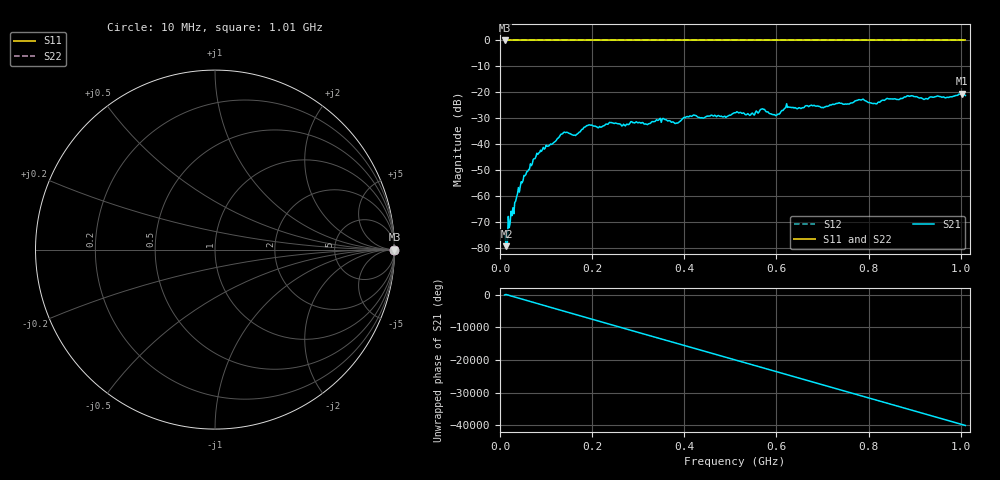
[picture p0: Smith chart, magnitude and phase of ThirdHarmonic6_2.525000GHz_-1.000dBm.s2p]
! 8/17/2025 5:00:01 AM
! C:\ANRITSUVNA\TEMP\TEMP.S2P
! CHANNEL.1
! TR.MEASUREMENT
! RAW.DATA
! RF.CORRECTION.OFF
! AVERAGING.OFF
! IF.BANDWIDTH: 5KHZ
! SWEEPTYPE:  FREQ.SWEEP(Linear)
! Reference Plane Port Info
! PORT:  PORT1  PORT2
! DISTANCE:  0  m  0  m
! TIME:  0  s  0  s
! PHASE.OFFSET:  0  deg.  0  deg.
! LOSS:  0  dB  0  dB
! REF.LOSS:  0  dB  0  dB
! REF.FREQ:  0  Hz  0  Hz
! Power Info
! POWER:  -20  dBm  -20  dBm
! EFF.POWER:  -20  dBm  -20  dBm
! SOURCE.ATTEN:  0  dB  0  dB
! TEST.ATTEN:  0  dB  0  dB
# GHZ S RI R 50.0
! FREQ.GHZ  S11RE  S11IM  S21RE  S21IM  S12RE  S12IM  S22RE  S22IM
!; PortSelection: Port_12
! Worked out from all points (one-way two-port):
!   501 points, 10 MHz to 1.01 GHz, reference 50 ohm
!   highest |S21| = -20.47 dB at 1.002 GHz (marker M1); lowest = -79.2 dB at 14 MHz (marker M2)
!   lowest |S11| = 0.0 dB at 10 MHz (marker M3)
!   |S11| at or under -10 dB: nowhere
!   |S22| runs from 0.0 to 0.0 dB; largest |S21 - S12| = 1.1
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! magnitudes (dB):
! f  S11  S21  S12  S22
! 10 MHz  0.0  -73.7  0.0  0.0
! 14 MHz  0.0  -79.2  0.0  0.0
! 42 MHz  0.0  -58.4  0.0  0.0
! 76 MHz  0.0  -45.5  0.0  0.0
! 136 MHz  0.0  -35.9  0.0  0.0
! 162 MHz  0.0  -36.4  0.0  0.0
! 178 MHz  0.0  -34.2  0.0  0.0
! 194 MHz  0.0  -32.5  0.0  0.0
! 344 MHz  0.0  -30.7  0.0  0.0
! 382 MHz  0.0  -31.9  0.0  0.0
! 416 MHz  0.0  -29.2  0.0  0.0
! 510 MHz  0.0  -27.8  0.0  0.0
! 548 MHz  0.0  -28.0  0.0  0.0
! 570 MHz  0.0  -26.3  0.0  0.0
! 598 MHz  0.0  -28.9  0.0  0.0
! 622 MHz  0.0  -24.4  0.0  0.0
! 678 MHz  0.0  -25.1  0.0  0.0
! 784 MHz  0.0  -22.9  0.0  0.0
! 814 MHz  0.0  -24.3  0.0  0.0
! 844 MHz  0.0  -22.5  0.0  0.0
! 1.002 GHz  0.0  -20.5  0.0  0.0
! 1.01 GHz  0.0  -21.2  0.0  0.0
